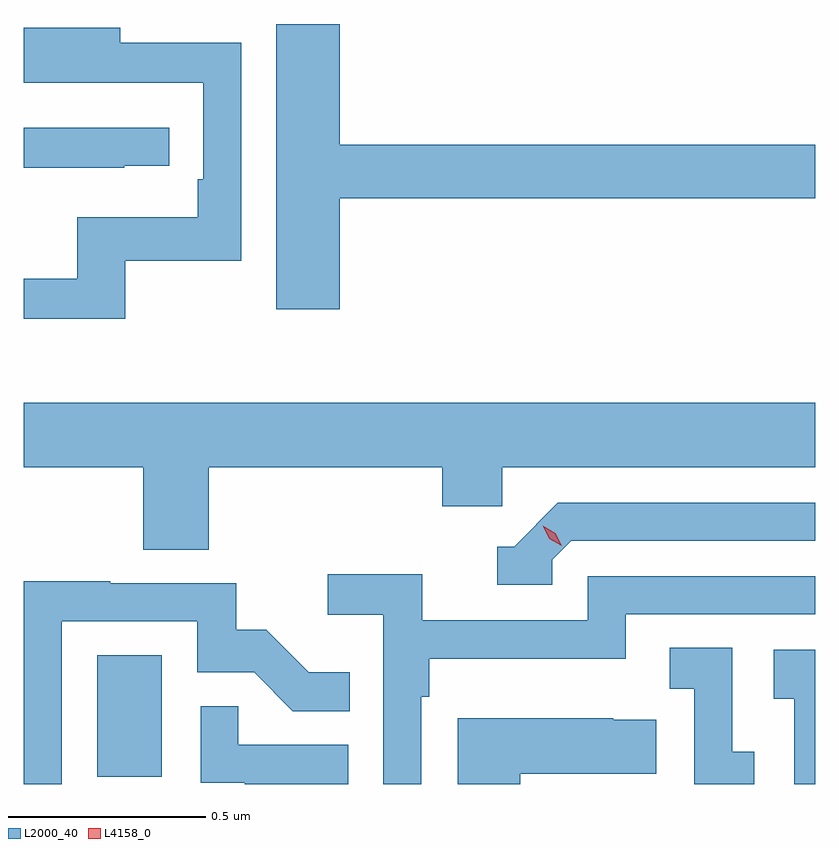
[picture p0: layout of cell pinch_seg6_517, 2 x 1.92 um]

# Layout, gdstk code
import gdstk
lib = gdstk.Library(unit=1e-6, precision=1e-09)
def R(c, l, rs):  # rectangles x0, y0, x1, y1
    for r in rs: c.add(gdstk.rectangle(r[:2], r[2:], *l))
def P(c, l, *ps):  # polygons
    for p in ps: c.add(gdstk.Polygon(p, *l))
L2000_40 = (2000, 40)
L4158_0 = (4158, 0)

pinch_seg6_517 = lib.new_cell('pinch_seg6_517')
R(pinch_seg6_517, L2000_40, [(849.08,918.582,849.244,918.889)])
P(pinch_seg6_517, L2000_40, [(849.694,920.044),(850.895,920.044),(850.895,920.18),(849.694,920.18),(849.694,920.485),(849.533,920.485),(849.533,919.764),(849.694,919.764)],
  [(849.151,919.887),(849.444,919.887),(849.444,920.438),(849.139,920.438),(849.139,920.476),(848.895,920.476),(848.895,920.336),(849.035,920.336),(849.035,920.337),(849.348,920.337),(849.348,920.092),(849.335,920.092),(849.335,919.996),(849.03,919.996),(849.03,919.841),(848.895,919.841),(848.895,919.74),(849.151,919.74)],
  [(849.149,920.127),(849.262,920.127),(849.262,920.223),(848.895,920.223),(848.895,920.122),(849.149,920.122)],
  [(849.362,919.364),(849.953,919.364),(849.953,919.266),(850.104,919.266),(850.104,919.364),(850.895,919.364),(850.895,919.528),(848.895,919.528),(848.895,919.364),(849.197,919.364),(849.197,919.156),(849.362,919.156)],
  [(850.23,919.131),(850.278,919.179),(850.895,919.179),(850.895,919.275),(850.245,919.275),(850.134,919.164),(850.091,919.164),(850.091,919.068),(850.23,919.068)],
  [(849.9,918.785),(849.92,918.785),(849.92,918.881),(850.416,918.881),(850.416,918.993),(850.895,918.993),(850.895,919.089),(850.32,919.089),(850.32,918.978),(849.902,918.978),(849.902,919.094),(849.663,919.094),(849.663,918.992),(849.804,918.992),(849.804,918.564),(849.9,918.564)],
  [(848.991,918.975),(849.333,918.975),(849.333,918.846),(849.477,918.846),(849.575,918.748),(849.719,918.748),(849.719,918.847),(849.615,918.847),(849.508,918.954),(849.432,918.954),(849.432,919.071),(849.113,919.071),(849.113,919.076),(848.895,919.076),(848.895,918.564),(848.991,918.564)],
  [(850.741,918.645),(850.686,918.645),(850.686,918.908),(850.527,918.908),(850.527,918.805),(850.59,918.805),(850.59,918.564),(850.741,918.564)],
  [(850.895,918.903),(850.791,918.903),(850.791,918.779),(850.842,918.779),(850.842,918.564),(850.895,918.564)],
  [(849.715,918.663),(849.437,918.663),(849.437,918.761),(849.342,918.761),(849.342,918.567),(849.453,918.567),(849.453,918.564),(849.715,918.564)],
  [(850.15,918.59),(850.493,918.59),(850.493,918.727),(850.385,918.727),(850.385,918.73),(849.992,918.73),(849.992,918.564),(850.15,918.564)])
P(pinch_seg6_517, L4158_0, [(850.254,919.166),(850.223,919.184),(850.207,919.217),(850.207,919.217),(850.207,919.217),(850.238,919.198),(850.255,919.166),(850.255,919.166)])

lib.write_gds('pinch_seg6_517.gds')
